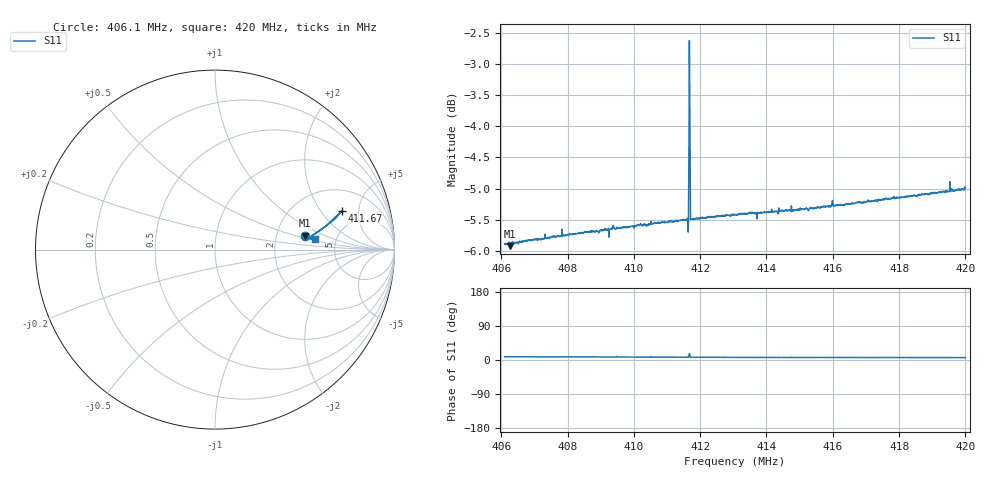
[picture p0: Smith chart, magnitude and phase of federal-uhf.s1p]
! Calibrated averaged scanner-service zoom
# Hz S RI R 50
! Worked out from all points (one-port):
!   2001 points, 406.1 MHz to 420 MHz, reference 50 ohm
!   lowest |S11| = -5.9 dB at 406.25 MHz (marker M1), VSWR 3.05, Z = 145 + j30.5 ohm
!   |S11| at or under -10 dB: nowhere
!   S11 on the Smith chart (normalised r, x): 406.1 MHz: 2.92, +0.60; 411.67 MHz: 3.42, +3.26; 420 MHz: 3.46, +0.62
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4.061e8  0.5022 0.0766
4.062529e8  0.4995 0.0784
4.078375e8  0.51 0.0737
4.088939e8  0.5145 0.0726
4.093178e8  0.5176 0.0722
4.093943e8  0.5184 0.0708
4.09443e8  0.517 0.0714
4.095124e8  0.5174 0.0749
4.09575e8  0.5184 0.0711
4.113125e8  0.5256 0.0681
4.115766e8  0.5267 0.0688
4.115905e8  0.5264 0.0677
4.115974e8  0.5267 0.068
4.116114e8  0.5275 0.0687
4.116183e8  0.5278 0.0691
4.116322e8  0.5236 0.0696
4.116739e8  0.7071 0.2159
4.117226e8  0.5273 0.0674
4.117295e8  0.5275 0.0675
4.117434e8  0.5274 0.0671
4.117573e8  0.5276 0.0674
4.117642e8  0.527 0.0673
4.117782e8  0.5271 0.0676
4.1305e8  0.532 0.0649
4.147875e8  0.5364 0.0632
4.16525e8  0.5428 0.0628
4.182625e8  0.5513 0.0619
4.2e8  0.5597 0.0609
